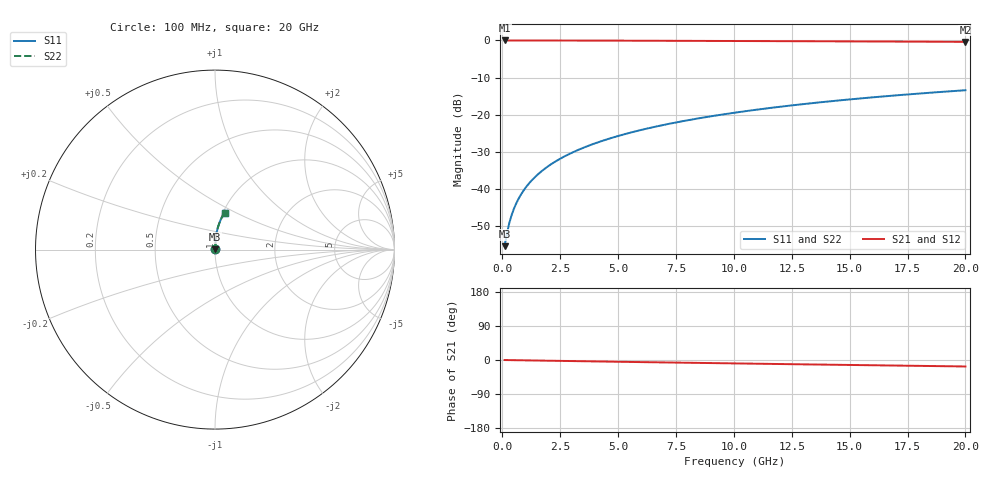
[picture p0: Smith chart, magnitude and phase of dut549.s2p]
! Touchstone file exported from HFSS 2024.1.0
!  File:  C:/UserFiles/LocalFiles/RDL_TSV_Batchsim/temp_RDL_bottom_549_1779689294.aedt
!  Generated:  02:10:53 PM May 25, 2026
!  Design:  RDL_bottom
!  Project:  temp_RDL_bottom_549_1779689294
!  Setup:  Setup1
!  Solution:  Sweep
! Variables:
!  dtsv = 10.80580581um
!  hbump = 3um
!  htsv = 50.71um
!  ldown = 188.99um
!  lrdl = 100um
!  p = 40
!  p1 = 50.97um
!  rhole = 1um
!  t = 450um
!  tdown = 3.54um
!  trdl = 3.915915916um
!  wdown = 16.78um
!  wrdl = 20um
# GHz S MA R 50.000000
! Terminal data exported
! Port[1] = RDL1_T1
! Port[2] = RDL1_T2
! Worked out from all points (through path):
!   200 points, 100 MHz to 20 GHz, reference 50 ohm
!   highest |S21| = -0.01 dB at 100 MHz (marker M1); lowest = -0.4 dB at 20 GHz (marker M2)
!   group delay of S21, straight-line fit = 2.36 ps
!   lowest |S11| = -55.4 dB at 100 MHz (marker M3), VSWR 1.00, Z = 50.1 + j0.107 ohm
!   |S11| at or under -10 dB: start of sweep to end of sweep
!   |S22| runs from -55.4 to -13.4 dB; largest |S21 - S12| = 2.1e-15
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0.1  0.001691 39.1  0.9987 -0.1  0.9987 -0.1  0.001691 39.1
! Gamma 0 0 0 0
! Port Impedance 50 0 50 0
0.2  0.002508 57.5  0.9986 -0.2  0.9986 -0.2  0.002508 57.5
0.3  0.00344 66.2  0.9986 -0.3  0.9986 -0.3  0.00344 66.2
0.4  0.004402 71.1  0.9985 -0.4  0.9985 -0.4  0.004402 71.1
0.5  0.005375 74.3  0.9985 -0.5  0.9985 -0.5  0.005375 74.3
0.6  0.006354 76.5  0.9984 -0.6  0.9984 -0.6  0.006354 76.5
0.8  0.008324 79.4  0.9983 -0.8  0.9983 -0.8  0.008324 79.4
1.1  0.01131 82.0  0.9982 -1.1  0.9982 -1.1  0.01131 82.0
1.5  0.01532 83.9  0.9979 -1.4  0.9979 -1.4  0.01532 83.9
1.8  0.01835 84.8  0.9976 -1.7  0.9976 -1.7  0.01835 84.8
2.1  0.02139 85.4  0.9974 -2.0  0.9974 -2.0  0.02139 85.4
2.7  0.02753 86.1  0.9967 -2.6  0.9967 -2.6  0.02753 86.1
3.5  0.03579 86.5  0.9956 -3.3  0.9956 -3.3  0.03579 86.5
4.2  0.04311 86.7  0.9945 -3.9  0.9945 -3.9  0.04311 86.7
5  0.05156 86.6  0.993 -4.7  0.993 -4.7  0.05156 86.6
5.9  0.06117 86.3  0.9913 -5.5  0.9913 -5.5  0.06117 86.3
6.8  0.07088 86.0  0.9894 -6.3  0.9894 -6.3  0.07088 86.0
8.3  0.08721 85.1  0.9861 -7.6  0.9861 -7.6  0.08721 85.1
10.1  0.1069 83.8  0.9819 -9.1  0.9819 -9.1  0.1069 83.8
13.4  0.1431 81.2  0.974 -11.8  0.974 -11.8  0.1431 81.2
16.7  0.1786 78.4  0.9657 -14.5  0.9657 -14.5  0.1786 78.4
20  0.2133 75.6  0.9567 -17.1  0.9567 -17.1  0.2133 75.6
